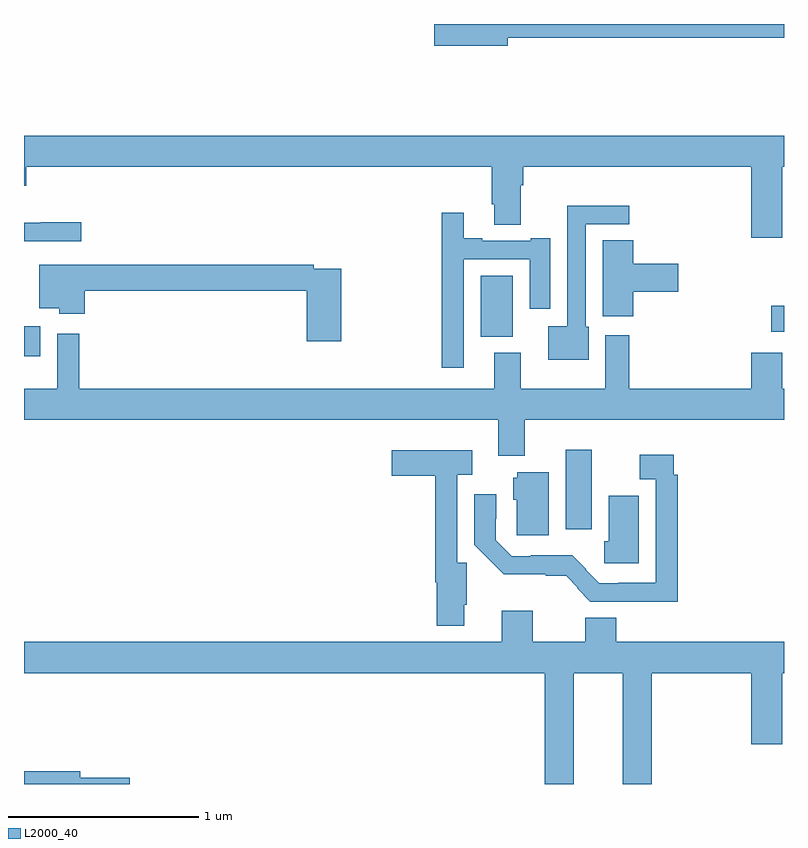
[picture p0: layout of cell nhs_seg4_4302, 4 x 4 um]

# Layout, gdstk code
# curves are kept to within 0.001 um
import gdstk
lib = gdstk.Library(unit=1e-6, precision=1e-09)
def R(c, l, rs):  # rectangles x0, y0, x1, y1
    for r in rs: c.add(gdstk.rectangle(r[:2], r[2:], *l))
def P(c, l, *ps):  # polygons
    for p in ps: c.add(gdstk.Polygon(p, *l))
L2000_40 = (2000, 40)

nhs_seg4_4302 = lib.new_cell('nhs_seg4_4302')
R(nhs_seg4_4302, L2000_40, [(343.85,800.24,343.987,800.659), (341,801.152,341.086,801.31), (343.403,801.254,343.573,801.574), (344.934,801.281,345,801.416)])
P(nhs_seg4_4302, L2000_40, [(343.546,802.828),(345,802.828),(345,802.9),(343.158,802.9),(343.158,802.786),(343.546,802.786)],
  [(344.992,802.148),(345,802.148),(345,802.312),(341,802.312),(341,802.049),(341.012,802.049),(341.012,802.148),(343.463,802.148),(343.463,801.952),(343.475,801.952),(343.475,801.844),(343.615,801.844),(343.615,802.052),(343.628,802.052),(343.628,802.148),(344.828,802.148),(344.828,801.774),(344.992,801.774)],
  [(343.972,801.306),(343.956,801.306),(343.956,801.846),(344.185,801.846),(344.185,801.944),(343.86,801.944),(343.86,801.31),(343.76,801.31),(343.76,801.134),(343.972,801.134)],
  [(343.314,801.663),(343.661,801.663),(343.661,801.402),(343.771,801.402),(343.771,801.772),(343.667,801.772),(343.667,801.759),(343.411,801.759),(343.411,801.772),(343.315,801.772),(343.315,801.907),(343.198,801.907),(343.198,801.09),(343.314,801.09)],
  [(341.302,801.857),(341.089,801.857),(341.089,801.854),(341,801.854),(341,801.756),(341.302,801.756)],
  [(344.207,801.491),(344.443,801.491),(344.443,801.638),(344.207,801.638),(344.207,801.761),(344.045,801.761),(344.045,801.363),(344.207,801.363)],
  [(342.671,801.612),(342.524,801.612),(342.524,801.632),(341.304,801.632),(341.304,801.634),(341.081,801.634),(341.081,801.404),(341.186,801.404),(341.186,801.374),(341.321,801.374),(341.321,801.496),(342.488,801.496),(342.488,801.231),(342.671,801.231)],
  [(343.636,800.816),(345,800.816),(345,800.98),(344.992,800.98),(344.992,801.169),(344.828,801.169),(344.828,800.98),(344.186,800.98),(344.186,801.262),(344.06,801.262),(344.06,800.98),(343.615,800.98),(343.615,801.169),(343.475,801.169),(343.475,800.98),(341.291,800.98),(341.291,801.271),(341.175,801.271),(341.175,800.98),(341,800.98),(341,800.816),(343.496,800.816),(343.496,800.627),(343.636,800.627)],
  [(343.318,799.843),(343.331,799.843),(343.331,800.064),(343.281,800.064),(343.281,800.527),(343.36,800.527),(343.36,800.656),(342.936,800.656),(342.936,800.522),(343.165,800.522),(343.165,799.961),(343.172,799.961),(343.172,799.733),(343.318,799.733)],
  [(344.441,800.528),(344.421,800.528),(344.421,800.632),(344.241,800.632),(344.241,800.504),(344.325,800.504),(344.325,799.96),(344.128,799.96),(344.128,799.956),(344.028,799.956),(343.956,800.028),(343.959,800.031),(343.885,800.105),(343.666,800.105),(343.666,800.1),(343.566,800.1),(343.482,800.184),(343.482,800.297),(343.486,800.297),(343.486,800.425),(343.37,800.425),(343.37,800.16),(343.525,800.003),(343.745,800.003),(343.745,799.995),(343.853,799.995),(343.915,799.933),(343.911,799.929),(343.981,799.859),(344.441,799.859)],
  [(343.762,800.542),(343.596,800.542),(343.596,800.511),(343.574,800.511),(343.574,800.397),(343.593,800.397),(343.593,800.208),(343.762,800.208)],
  [(344.236,800.416),(344.078,800.416),(344.078,800.178),(344.055,800.178),(344.055,800.061),(344.236,800.061)],
  [(343.894,799.484),(344.15,799.484),(344.15,798.9),(344.303,798.9),(344.303,799.484),(344.828,799.484),(344.828,799.11),(344.992,799.11),(344.992,799.484),(345,799.484),(345,799.648),(344.116,799.648),(344.116,799.774),(343.955,799.774),(343.955,799.648),(343.678,799.648),(343.678,799.813),(343.514,799.813),(343.514,799.648),(341,799.648),(341,799.484),(343.742,799.484),(343.742,798.9),(343.894,798.9)],
  [(341.557,798.932),(341.296,798.932),(341.296,798.968),(341,798.968),(341,798.9),(341.557,798.9)])

lib.write_gds('nhs_seg4_4302.gds')
